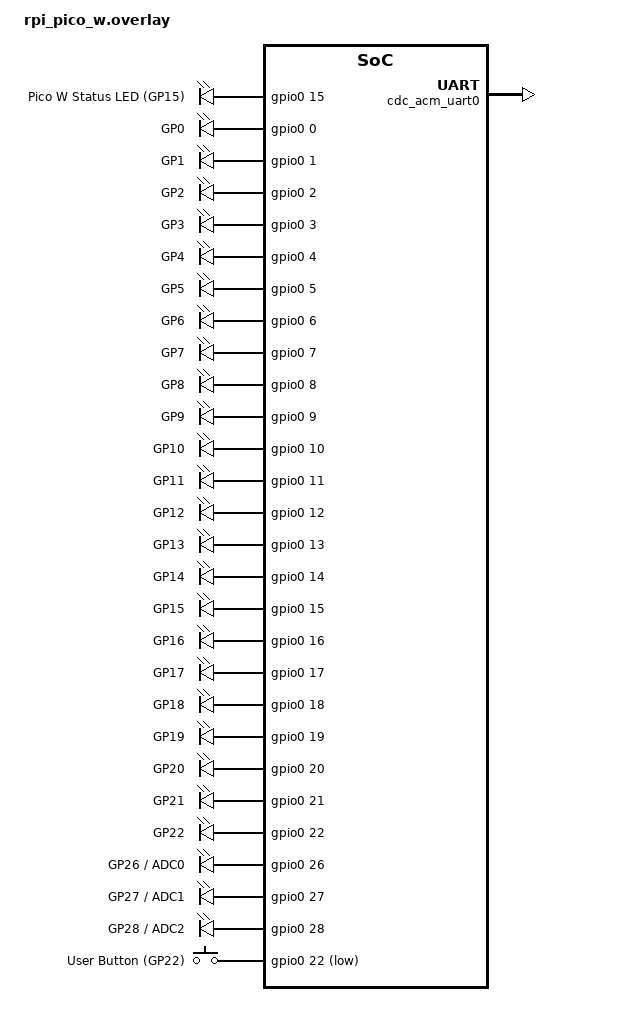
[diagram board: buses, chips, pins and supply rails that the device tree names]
/*
 * Copyright (c) 2024 - 2026 MeshX
 * SPDX-License-Identifier: Apache-2.0
 *
 * Board-specific DeviceTree IO Overlay for Raspberry Pi Pico W BSP.
 * Defines board-fixed peripherals (Status LED, User Button, USB CDC ACM console)
 * and exposes breakout pins generically by GPIO number (and GP0-GP28 labels).
 * Runtime role configuration is driven top-down by MeshX IO firmware and prod_profile.yml.
 */

/ {
	aliases {
		led0 = &status_led;
		sw0 = &user_button;

		/* Generic GPIO pin aliases (RP2040 GP0 - GP22, GP26 - GP28) */
		gpio0  = &pin_gpio0;
		gpio1  = &pin_gpio1;
		gpio2  = &pin_gpio2;
		gpio3  = &pin_gpio3;
		gpio4  = &pin_gpio4;
		gpio5  = &pin_gpio5;
		gpio6  = &pin_gpio6;
		gpio7  = &pin_gpio7;
		gpio8  = &pin_gpio8;
		gpio9  = &pin_gpio9;
		gpio10 = &pin_gpio10;
		gpio11 = &pin_gpio11;
		gpio12 = &pin_gpio12;
		gpio13 = &pin_gpio13;
		gpio14 = &pin_gpio14;
		gpio15 = &pin_gpio15;
		gpio16 = &pin_gpio16;
		gpio17 = &pin_gpio17;
		gpio18 = &pin_gpio18;
		gpio19 = &pin_gpio19;
		gpio20 = &pin_gpio20;
		gpio21 = &pin_gpio21;
		gpio22 = &pin_gpio22;
		gpio26 = &pin_gpio26;
		gpio27 = &pin_gpio27;
		gpio28 = &pin_gpio28;

		/* Raspberry Pi Pico Pinout Aliases (GP0 - GP28) */
		gp0  = &pin_gpio0;
		gp1  = &pin_gpio1;
		gp2  = &pin_gpio2;
		gp3  = &pin_gpio3;
		gp4  = &pin_gpio4;
		gp5  = &pin_gpio5;
		gp6  = &pin_gpio6;
		gp7  = &pin_gpio7;
		gp8  = &pin_gpio8;
		gp9  = &pin_gpio9;
		gp10 = &pin_gpio10;
		gp11 = &pin_gpio11;
		gp12 = &pin_gpio12;
		gp13 = &pin_gpio13;
		gp14 = &pin_gpio14;
		gp15 = &pin_gpio15;
		gp16 = &pin_gpio16;
		gp17 = &pin_gpio17;
		gp18 = &pin_gpio18;
		gp19 = &pin_gpio19;
		gp20 = &pin_gpio20;
		gp21 = &pin_gpio21;
		gp22 = &pin_gpio22;
		gp26 = &pin_gpio26;
		gp27 = &pin_gpio27;
		gp28 = &pin_gpio28;
	};

	leds {
		compatible = "gpio-leds";

		status_led: led_0 {
			gpios = <&gpio0 15 GPIO_ACTIVE_HIGH>;
			label = "Pico W Status LED (GP15)";
		};

		/* Generic Breakout GPIO Pin Nodes */
		pin_gpio0: gpio_0   { gpios = <&gpio0 0 GPIO_ACTIVE_HIGH>;  label = "GP0"; };
		pin_gpio1: gpio_1   { gpios = <&gpio0 1 GPIO_ACTIVE_HIGH>;  label = "GP1"; };
		pin_gpio2: gpio_2   { gpios = <&gpio0 2 GPIO_ACTIVE_HIGH>;  label = "GP2"; };
		pin_gpio3: gpio_3   { gpios = <&gpio0 3 GPIO_ACTIVE_HIGH>;  label = "GP3"; };
		pin_gpio4: gpio_4   { gpios = <&gpio0 4 GPIO_ACTIVE_HIGH>;  label = "GP4"; };
		pin_gpio5: gpio_5   { gpios = <&gpio0 5 GPIO_ACTIVE_HIGH>;  label = "GP5"; };
		pin_gpio6: gpio_6   { gpios = <&gpio0 6 GPIO_ACTIVE_HIGH>;  label = "GP6"; };
		pin_gpio7: gpio_7   { gpios = <&gpio0 7 GPIO_ACTIVE_HIGH>;  label = "GP7"; };
		pin_gpio8: gpio_8   { gpios = <&gpio0 8 GPIO_ACTIVE_HIGH>;  label = "GP8"; };
		pin_gpio9: gpio_9   { gpios = <&gpio0 9 GPIO_ACTIVE_HIGH>;  label = "GP9"; };
		pin_gpio10: gpio_10 { gpios = <&gpio0 10 GPIO_ACTIVE_HIGH>; label = "GP10"; };
		pin_gpio11: gpio_11 { gpios = <&gpio0 11 GPIO_ACTIVE_HIGH>; label = "GP11"; };
		pin_gpio12: gpio_12 { gpios = <&gpio0 12 GPIO_ACTIVE_HIGH>; label = "GP12"; };
		pin_gpio13: gpio_13 { gpios = <&gpio0 13 GPIO_ACTIVE_HIGH>; label = "GP13"; };
		pin_gpio14: gpio_14 { gpios = <&gpio0 14 GPIO_ACTIVE_HIGH>; label = "GP14"; };
		pin_gpio15: gpio_15 { gpios = <&gpio0 15 GPIO_ACTIVE_HIGH>; label = "GP15"; };
		pin_gpio16: gpio_16 { gpios = <&gpio0 16 GPIO_ACTIVE_HIGH>; label = "GP16"; };
		pin_gpio17: gpio_17 { gpios = <&gpio0 17 GPIO_ACTIVE_HIGH>; label = "GP17"; };
		pin_gpio18: gpio_18 { gpios = <&gpio0 18 GPIO_ACTIVE_HIGH>; label = "GP18"; };
		pin_gpio19: gpio_19 { gpios = <&gpio0 19 GPIO_ACTIVE_HIGH>; label = "GP19"; };
		pin_gpio20: gpio_20 { gpios = <&gpio0 20 GPIO_ACTIVE_HIGH>; label = "GP20"; };
		pin_gpio21: gpio_21 { gpios = <&gpio0 21 GPIO_ACTIVE_HIGH>; label = "GP21"; };
		pin_gpio22: gpio_22 { gpios = <&gpio0 22 GPIO_ACTIVE_HIGH>; label = "GP22"; };

		/* ADC-capable Analog Pins */
		pin_gpio26: gpio_26 { gpios = <&gpio0 26 GPIO_ACTIVE_HIGH>; label = "GP26 / ADC0"; };
		pin_gpio27: gpio_27 { gpios = <&gpio0 27 GPIO_ACTIVE_HIGH>; label = "GP27 / ADC1"; };
		pin_gpio28: gpio_28 { gpios = <&gpio0 28 GPIO_ACTIVE_HIGH>; label = "GP28 / ADC2"; };
	};

	gpio_keys {
		compatible = "gpio-keys";

		user_button: button_user {
			label = "User Button (GP22)";
			gpios = <&gpio0 22 (GPIO_PULL_UP | GPIO_ACTIVE_LOW)>;
		};
	};
};

&zephyr_udc0 {
	cdc_acm_uart0: cdc_acm_uart0 {
		compatible = "zephyr,cdc-acm-uart";
	};
};
